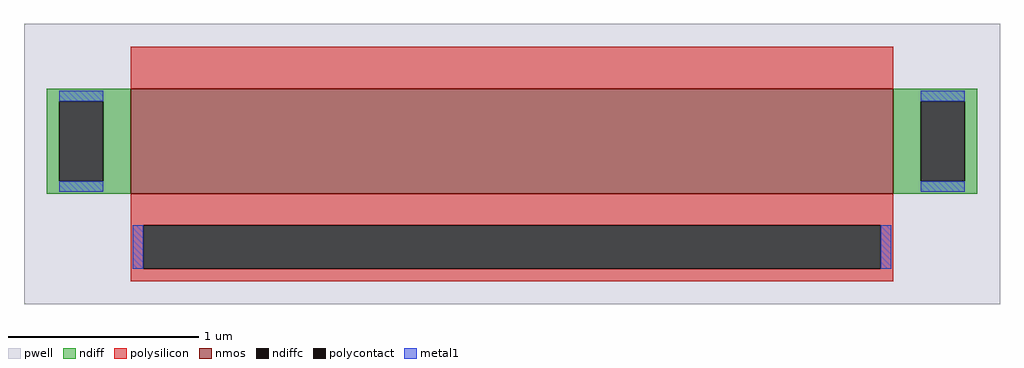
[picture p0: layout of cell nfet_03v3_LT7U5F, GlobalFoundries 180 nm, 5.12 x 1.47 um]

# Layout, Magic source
magic
tech gf180mcuD
magscale 1 10
<< pwell >>
rect -512 -147 512 147
<< nmos >>
rect -400 -31 400 79
<< ndiff >>
rect -488 66 -400 79
rect -488 -18 -475 66
rect -429 -18 -400 66
rect -488 -31 -400 -18
rect 400 66 488 79
rect 400 -18 429 66
rect 475 -18 488 66
rect 400 -31 488 -18
<< ndiffc >>
rect -475 -18 -429 66
rect 429 -18 475 66
<< polysilicon >>
rect -400 79 400 123
rect -400 -64 400 -31
rect -400 -110 -387 -64
rect 387 -110 400 -64
rect -400 -123 400 -110
<< polycontact >>
rect -387 -110 387 -64
<< metal1 >>
rect -475 66 -429 77
rect -475 -29 -429 -18
rect 429 66 475 77
rect 429 -29 475 -18
rect -398 -110 -387 -64
rect 387 -110 398 -64
<< properties >>
string gencell nfet_03v3
string library gf180mcu
string parameters w 0.55 l 4 m 1 nf 1 diffcov 100 polycov 100 guard 0 glc 0 grc 0 gtc 0 gbc 0 tbcov 100 rlcov 100 topc 0 botc 1 poverlap 0 doverlap 1 lmin 0.28 wmin 0.22 class mosfet full_metal 0 compatible {nfet_03v3 nfet_05v0 nfet_06v0 nfet_06v0_nvt}
<< end >>
